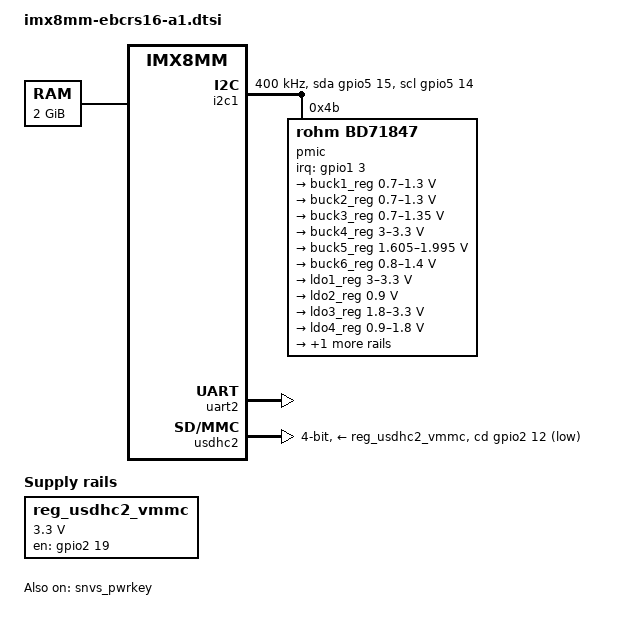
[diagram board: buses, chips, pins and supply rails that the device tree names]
// SPDX-License-Identifier: (GPL-2.0+ OR MIT)
/*rs16
 * Copyright 2020,2022 NXP
 */

/dts-v1/;

#include <dt-bindings/phy/phy-imx8-pcie.h>
#include <dt-bindings/usb/pd.h>
#include "imx8mm.dtsi"

/ {
	chosen {
		stdout-path = &uart2;
	};

	memory@40000000 {
		device_type = "memory";
		reg = <0x0 0x40000000 0 0x80000000>;
	};

	reg_usdhc2_vmmc: regulator-usdhc2 {
		compatible = "regulator-fixed";
		pinctrl-names = "default";
		pinctrl-0 = <&pinctrl_reg_usdhc2_vmmc>;
		regulator-name = "VSD_3V3";
		regulator-min-microvolt = <3300000>;
		regulator-max-microvolt = <3300000>;
		gpio = <&gpio2 19 GPIO_ACTIVE_HIGH>;
		off-on-delay-us = <20000>;
		enable-active-high;
	};
};

&A53_0 {
	cpu-supply = <&buck2_reg>;
};

&A53_1 {
	cpu-supply = <&buck2_reg>;
};

&A53_2 {
	cpu-supply = <&buck2_reg>;
};

&A53_3 {
	cpu-supply = <&buck2_reg>;
};

&i2c1 {
	clock-frequency = <400000>;
	pinctrl-names = "default", "gpio";
	pinctrl-0 = <&pinctrl_i2c1>;
	pinctrl-1 = <&pinctrl_i2c1_gpio>;
	scl-gpios = <&gpio5 14 GPIO_ACTIVE_HIGH>;
	sda-gpios = <&gpio5 15 GPIO_ACTIVE_HIGH>;
	status = "okay";

	pmic@4b {
		compatible = "rohm,bd71847";
		reg = <0x4b>;
		pinctrl-0 = <&pinctrl_pmic>;
		interrupt-parent = <&gpio1>;
		interrupts = <3 GPIO_ACTIVE_LOW>;
		rohm,reset-snvs-powered;

		regulators {
			buck1_reg: BUCK1 {
				regulator-name = "BUCK1";
				regulator-min-microvolt = <700000>;
				regulator-max-microvolt = <1300000>;
				regulator-boot-on;
				regulator-always-on;
				regulator-ramp-delay = <1250>;
			};

			buck2_reg: BUCK2 {
				regulator-name = "BUCK2";
				regulator-min-microvolt = <700000>;
				regulator-max-microvolt = <1300000>;
				regulator-boot-on;
				regulator-always-on;
				regulator-ramp-delay = <1250>;
				rohm,dvs-run-voltage = <1000000>;
				rohm,dvs-idle-voltage = <900000>;
			};

			buck3_reg: BUCK3 {
				// BUCK5 in datasheet
				regulator-name = "BUCK3";
				regulator-min-microvolt = <700000>;
				regulator-max-microvolt = <1350000>;
				regulator-boot-on;
				regulator-always-on;
			};

			buck4_reg: BUCK4 {
				// BUCK6 in datasheet
				regulator-name = "BUCK4";
				regulator-min-microvolt = <3000000>;
				regulator-max-microvolt = <3300000>;
				regulator-boot-on;
				regulator-always-on;
			};

			buck5_reg: BUCK5 {
				// BUCK7 in datasheet
				regulator-name = "BUCK5";
				regulator-min-microvolt = <1605000>;
				regulator-max-microvolt = <1995000>;
				regulator-boot-on;
				regulator-always-on;
			};

			buck6_reg: BUCK6 {
				// BUCK8 in datasheet
				regulator-name = "BUCK6";
				regulator-min-microvolt = <800000>;
				regulator-max-microvolt = <1400000>;
				regulator-boot-on;
				regulator-always-on;
			};

			ldo1_reg: LDO1 {
				regulator-name = "LDO1";
				regulator-min-microvolt = <3000000>;
				regulator-max-microvolt = <3300000>;
				regulator-boot-on;
				regulator-always-on;
			};

			ldo2_reg: LDO2 {
				regulator-name = "LDO2";
				regulator-min-microvolt = <900000>;
				regulator-max-microvolt = <900000>;
				regulator-boot-on;
				regulator-always-on;
			};

			ldo3_reg: LDO3 {
				regulator-name = "LDO3";
				regulator-min-microvolt = <1800000>;
				regulator-max-microvolt = <3300000>;
				regulator-boot-on;
				regulator-always-on;
			};

			ldo4_reg: LDO4 {
				regulator-name = "LDO4";
				regulator-min-microvolt = <900000>;
				regulator-max-microvolt = <1800000>;
				regulator-boot-on;
				regulator-always-on;
			};

			ldo6_reg: LDO6 {
				regulator-name = "LDO6";
				regulator-min-microvolt = <900000>;
				regulator-max-microvolt = <1800000>;
				regulator-boot-on;
				regulator-always-on;
			};
		};
	};
};

&snvs_pwrkey {
	status = "okay";
};

&uart2 { /* console */
	pinctrl-names = "default";
	pinctrl-0 = <&pinctrl_uart2>;
	status = "okay";
};

&usdhc2 {
	assigned-clocks = <&clk IMX8MM_CLK_USDHC2>;
	assigned-clock-rates = <200000000>;
	pinctrl-names = "default", "state_100mhz", "state_200mhz";
	pinctrl-0 = <&pinctrl_usdhc2>, <&pinctrl_usdhc2_gpio>;
	pinctrl-1 = <&pinctrl_usdhc2_100mhz>, <&pinctrl_usdhc2_gpio>;
	pinctrl-2 = <&pinctrl_usdhc2_200mhz>, <&pinctrl_usdhc2_gpio>;
	cd-gpios = <&gpio2 12 GPIO_ACTIVE_LOW>;
	bus-width = <4>;
	vmmc-supply = <&reg_usdhc2_vmmc>;
	status = "okay";
};

&wdog1 {
	pinctrl-names = "default";
	pinctrl-0 = <&pinctrl_wdog>;
	fsl,ext-reset-output;
	status = "disabled";
};

&iomuxc {
	pinctrl_i2c1: i2c1grp {
		fsl,pins = <
			MX8MM_IOMUXC_I2C1_SCL_I2C1_SCL			0x400001c3
			MX8MM_IOMUXC_I2C1_SDA_I2C1_SDA			0x400001c3
		>;
	};

	pinctrl_i2c1_gpio: i2c1-gpiogrp {
		fsl,pins = <
			MX8MM_IOMUXC_I2C1_SCL_GPIO5_IO14        		0x1c3
			MX8MM_IOMUXC_I2C1_SDA_GPIO5_IO15        	0x1c3
		>;
	};

	pinctrl_pmic: pmicirqgrp {
		fsl,pins = <
			MX8MM_IOMUXC_GPIO1_IO03_GPIO1_IO3		0x141
		>;
	};

	pinctrl_reg_usdhc2_vmmc: regusdhc2vmmcgrp {
		fsl,pins = <
			MX8MM_IOMUXC_SD2_RESET_B_GPIO2_IO19	0x41
		>;
	};

	pinctrl_uart2: uart2grp {
		fsl,pins = <
			MX8MM_IOMUXC_SAI3_TXFS_UART2_DCE_RX	0x140
			MX8MM_IOMUXC_SAI3_TXC_UART2_DCE_TX	0x140
		>;
	};

	pinctrl_usdhc2_gpio: usdhc2grpgpiogrp {
		fsl,pins = <
			MX8MM_IOMUXC_SD2_CD_B_GPIO2_IO12	0x1c4
			MX8MM_IOMUXC_SD2_WP_GPIO2_IO20	0x1c4
		>;
	};

	pinctrl_usdhc2: usdhc2grp {
		fsl,pins = <
			MX8MM_IOMUXC_SD2_CLK_USDHC2_CLK		0x190
			MX8MM_IOMUXC_SD2_CMD_USDHC2_CMD		0x1d0
			MX8MM_IOMUXC_SD2_DATA0_USDHC2_DATA0	0x1d0
			MX8MM_IOMUXC_SD2_DATA1_USDHC2_DATA1	0x1d0
			MX8MM_IOMUXC_SD2_DATA2_USDHC2_DATA2	0x1d0
			MX8MM_IOMUXC_SD2_DATA3_USDHC2_DATA3	0x1d0
			MX8MM_IOMUXC_GPIO1_IO04_USDHC2_VSELECT	0x1d0
		>;
	};

	pinctrl_usdhc2_100mhz: usdhc2-100mhzgrp {
		fsl,pins = <
			MX8MM_IOMUXC_SD2_CLK_USDHC2_CLK		0x194
			MX8MM_IOMUXC_SD2_CMD_USDHC2_CMD		0x1d4
			MX8MM_IOMUXC_SD2_DATA0_USDHC2_DATA0	0x1d4
			MX8MM_IOMUXC_SD2_DATA1_USDHC2_DATA1	0x1d4
			MX8MM_IOMUXC_SD2_DATA2_USDHC2_DATA2	0x1d4
			MX8MM_IOMUXC_SD2_DATA3_USDHC2_DATA3	0x1d4
			MX8MM_IOMUXC_GPIO1_IO04_USDHC2_VSELECT	0x1d0
		>;
	};

	pinctrl_usdhc2_200mhz: usdhc2-200mhzgrp {
		fsl,pins = <
			MX8MM_IOMUXC_SD2_CLK_USDHC2_CLK		0x196
			MX8MM_IOMUXC_SD2_CMD_USDHC2_CMD		0x1d6
			MX8MM_IOMUXC_SD2_DATA0_USDHC2_DATA0	0x1d6
			MX8MM_IOMUXC_SD2_DATA1_USDHC2_DATA1	0x1d6
			MX8MM_IOMUXC_SD2_DATA2_USDHC2_DATA2	0x1d6
			MX8MM_IOMUXC_SD2_DATA3_USDHC2_DATA3	0x1d6
			MX8MM_IOMUXC_GPIO1_IO04_USDHC2_VSELECT	0x1d0
		>;
	};

	pinctrl_wdog: wdoggrp {
		fsl,pins = <
			MX8MM_IOMUXC_GPIO1_IO02_WDOG1_WDOG_B	0x166
		>;
	};
};
